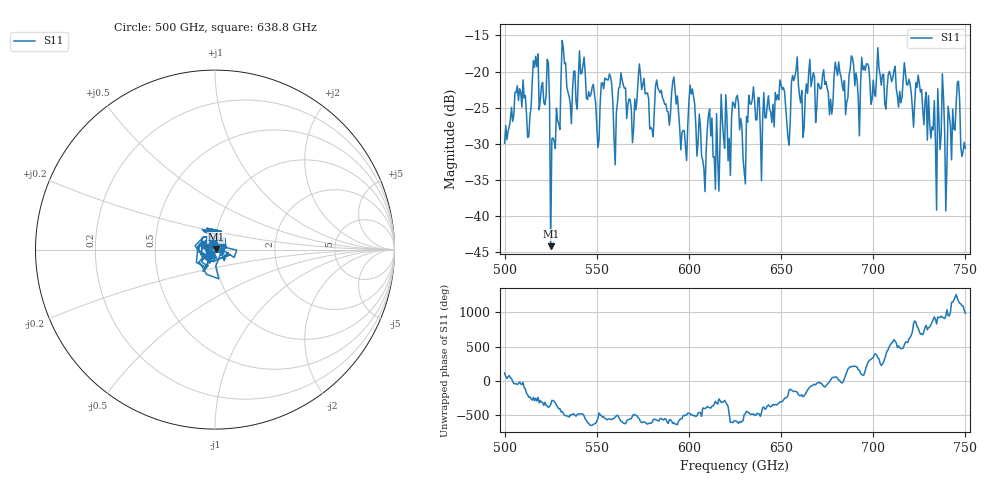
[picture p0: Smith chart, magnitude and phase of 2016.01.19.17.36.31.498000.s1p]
!Created with skrf (http://scikit-rf.org).
# GHz S RI R 50.0
!freq ReS11 ImS11
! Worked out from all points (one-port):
!   401 points, 500 GHz to 750 GHz, reference 50 ohm
!   lowest |S11| = -44.1 dB at 525 GHz (marker M1), VSWR 1.01, Z = 50.6 + j0.2 ohm
!   |S11| at or under -10 dB: start of sweep to end of sweep
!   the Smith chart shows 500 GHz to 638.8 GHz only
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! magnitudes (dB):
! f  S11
! 500 GHz  -29.9
! 506.9 GHz  -22.0
! 513.1 GHz  -29.0
! 516.9 GHz  -17.9
! 523.1 GHz  -18.3
! 525 GHz  -44.1
! 526.2 GHz  -29.2
! 531.2 GHz  -15.7
! 535.6 GHz  -24.5
! 541.9 GHz  -20.3
! 550.6 GHz  -30.5
! 562.5 GHz  -22.2
! 593.8 GHz  -23.4
! 597.5 GHz  -28.2
! 601.9 GHz  -22.4
! 608.1 GHz  -33.4
! 625 GHz  -25.0
! 629.4 GHz  -32.1
! 633.8 GHz  -24.5
! 640 GHz  -26.7
! 650.6 GHz  -22.5
! 653.8 GHz  -29.2
! 656.2 GHz  -20.5
! 687.5 GHz  -19.6
! 718.8 GHz  -21.9
! 733.1 GHz  -24.0
! 745.6 GHz  -21.5
! 750 GHz  -30.6
